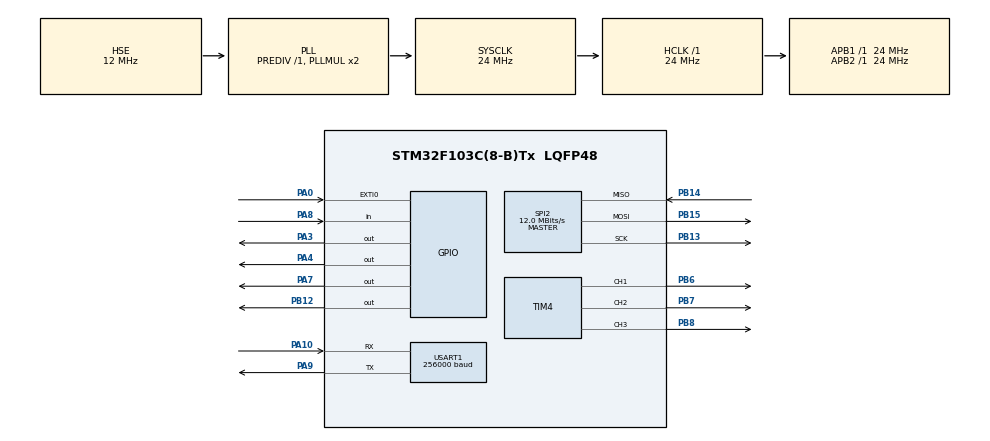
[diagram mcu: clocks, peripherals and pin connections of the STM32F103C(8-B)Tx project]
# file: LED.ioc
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Mcu.Family=STM32F1
Mcu.Name=STM32F103C(8-B)Tx
Mcu.Package=LQFP48
NVIC.EXTI0_IRQn=true\:1\:0\:true\:false\:true\:true\:true
NVIC.PriorityGroup=NVIC_PRIORITYGROUP_4
NVIC.SPI2_IRQn=true\:3\:0\:true\:false\:true\:true\:true
NVIC.USART1_IRQn=true\:3\:0\:true\:false\:true\:true\:true
PA0-WKUP.Signal=GPXTI0
PA10.Mode=Asynchronous
PA10.Signal=USART1_RX
PA13.Mode=Serial_Wire
PA13.Signal=SYS_JTMS-SWDIO
PA14.Mode=Serial_Wire
PA14.Signal=SYS_JTCK-SWCLK
PA3.Signal=GPIO_Output
PA4.Signal=GPIO_Output
PA7.Signal=GPIO_Output
PA8.Signal=GPIO_Input
PA9.Mode=Asynchronous
PA9.Signal=USART1_TX
PB12.Signal=GPIO_Output
PB13.Mode=Full_Duplex_Master
PB13.Signal=SPI2_SCK
PB14.Mode=Full_Duplex_Master
PB14.Signal=SPI2_MISO
PB15.Mode=Full_Duplex_Master
PB15.Signal=SPI2_MOSI
PB6.Signal=S_TIM4_CH1
PB7.Signal=S_TIM4_CH2
PB8.Signal=S_TIM4_CH3
PD0-OSC_IN.Mode=HSE-External-Oscillator
PD0-OSC_IN.Signal=RCC_OSC_IN
PD1-OSC_OUT.Mode=HSE-External-Oscillator
PD1-OSC_OUT.Signal=RCC_OSC_OUT
ProjectManager.HeapSize=0x200
ProjectManager.StackSize=0x400
ProjectManager.TargetToolchain=MDK-ARM V5
RCC.AHBFreq_Value=24000000
RCC.APB1Freq_Value=24000000
RCC.APB1TimFreq_Value=24000000
RCC.APB2Freq_Value=24000000
RCC.APB2TimFreq_Value=24000000
RCC.HCLKFreq_Value=24000000
RCC.HSE_VALUE=12000000
RCC.PLLSourceVirtual=RCC_PLLSOURCE_HSE
RCC.SYSCLKFreq_VALUE=24000000
RCC.SYSCLKSource=RCC_SYSCLKSOURCE_PLLCLK
RCC.USBFreq_Value=24000000
SH.S_TIM4_CH1.0=TIM4_CH1,PWM Generation1 CH1
SH.S_TIM4_CH2.0=TIM4_CH2,PWM Generation2 CH2
SH.S_TIM4_CH3.0=TIM4_CH3,PWM Generation3 CH3
SPI2.BaudRatePrescaler=SPI_BAUDRATEPRESCALER_2
SPI2.CalculateBaudRate=12.0 MBits/s
SPI2.Direction=SPI_DIRECTION_2LINES
SPI2.Mode=SPI_MODE_MASTER
SPI2.VirtualType=VM_MASTER
TIM4.Channel-PWM\ Generation1\ CH1=TIM_CHANNEL_1
TIM4.Channel-PWM\ Generation2\ CH2=TIM_CHANNEL_2
TIM4.Channel-PWM\ Generation3\ CH3=TIM_CHANNEL_3
USART1.BaudRate=256000
USART1.VirtualMode=VM_ASYNC
board=custom

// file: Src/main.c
/* USER CODE BEGIN Header */
/**
  ******************************************************************************
  * @file           : main.c
  * @brief          : Main program body
  ******************************************************************************
  * @attention
  *
  * <h2><center>&copy; Copyright (c) 2019 STMicroelectronics.
  * All rights reserved.</center></h2>
  *
  * This software component is licensed by ST under BSD 3-Clause license,
  * the "License"; You may not use this file except in compliance with the
  * License. You may obtain a copy of the License at:
  *                        opensource.org/licenses/BSD-3-Clause
  *
  ******************************************************************************
  */
/* USER CODE END Header */

#include "main.h"

/* USER CODE BEGIN Includes */
#include "nrf24.h"
#include "nrf24_hal.h"

/* USER CODE END Includes */

/* USER CODE BEGIN PTD */
uint8_t offFlag=0;
 uint8_t offFlag_2=0;
uint32_t curTime=0;
/* USER CODE END PTD */

/* USER CODE BEGIN PD */
uint8_t nRF24_payload[32]={0};
uint8_t payload_length=10;
nRF24_RXResult pipe;
uint8_t monitoreFlag=0;
		uint8_t SerialModule[4];

bool signalValid[126]={0};

/* USER CODE END PD */

SPI_HandleTypeDef hspi2;

TIM_HandleTypeDef htim4;

UART_HandleTypeDef huart1;

/* USER CODE BEGIN PV */
#ifdef __GNUC__
/* With GCC/RAISONANCE, small printf (option LD Linker->Libraries->Small printf
   set to 'Yes') calls __io_putchar() */
#define PUTCHAR_PROTOTYPE int __io_putchar(int ch)
#else
#define PUTCHAR_PROTOTYPE int fputc(int ch, FILE *f)
#endif /* __GNUC__ */
#include <stdbool.h>
/* USER CODE END PV */

void SystemClock_Config(void);
static void MX_GPIO_Init(void);
static void MX_USART1_UART_Init(void);
static void MX_SPI2_Init(void);
static void MX_TIM4_Init(void);
/* USER CODE BEGIN PFP */
    static const uint8_t nRF24_ADDR0[] = { 0x01,0x01,0xE7, 0x1F, 0xE1};
		static const uint8_t nRF24_ADDR1[] = {  0x01,0x01,0xE7, 0x1F, 0xE2 };
		static const uint8_t nRF24_ADDR2[] = {  0x01,0x01,0xE7, 0x1F, 0xE3 };
		static const uint8_t nRF24_ADDR3[] = {  0x01,0x01,0xE7, 0x1F, 0xE4 };
		static const uint8_t nRF24_ADDR4[] = {  0x01,0x01,0xE7, 0x1F, 0xE5 };
		static const uint8_t nRF24_ADDR5[] = {  0x01,0x01,0xE7, 0x1F, 0xE6 };

#define nRF24_WAIT_TIMEOUT         (uint32_t)0x000FFFFF

// Result of packet transmission
typedef enum {
	nRF24_TX_ERROR  = (uint8_t)0x00, // Unknown error
	nRF24_TX_SUCCESS,                // Packet has been transmitted successfully
	nRF24_TX_TIMEOUT,                // It was timeout during packet transmit
	nRF24_TX_MAXRT                   // Transmit failed with maximum auto retransmit count
} nRF24_TXResult;

nRF24_TXResult tx_res;

/* USER CODE END PFP */

/* USER CODE BEGIN 0 */
PUTCHAR_PROTOTYPE
{
  /* Place your implementation of fputc here */
  /* e.g. write a character to the USART1 and Loop until the end of transmission */
  HAL_UART_Transmit(&huart1, (uint8_t *)&ch, 1, 0xFFFF);

  return ch;
}

nRF24_TXResult nRF24_TransmitPacket(uint8_t *pBuf, uint8_t length) {
	volatile uint32_t wait = nRF24_WAIT_TIMEOUT;
	uint8_t status;

	// Deassert the CE pin (in case if it still high)
	nRF24_CE_L();

	// Transfer a data from the specified buffer to the TX FIFO
	nRF24_WritePayload(pBuf, length);

	// Start a transmission by asserting CE pin (must be held at least 10us)
	nRF24_CE_H();

	// Poll the transceiver status register until one of the following flags will be set:
	//   TX_DS  - means the packet has been transmitted
	//   MAX_RT - means the maximum number of TX retransmits happened
	// note: this solution is far from perfect, better to use IRQ instead of polling the status
	do {
		status = nRF24_GetStatus();
		if (status & (nRF24_FLAG_TX_DS | nRF24_FLAG_MAX_RT)) {
			break;
		}
	} while (wait--);

	// Deassert the CE pin (Standby-II --> Standby-I)
	nRF24_CE_L();

	if (!wait) {
		// Timeout
		return nRF24_TX_TIMEOUT;
	}

	// Check the flags in STATUS register
//	printf("[");
//	printf("%d",status);
//	printf("] ");

	// Clear pending IRQ flags
    nRF24_ClearIRQFlags();

	if (status & nRF24_FLAG_MAX_RT) {
		// Auto retransmit counter exceeds the programmed maximum limit (FIFO is not removed)
		return nRF24_TX_MAXRT;
	}

	if (status & nRF24_FLAG_TX_DS) {
		// Successful transmission
		return nRF24_TX_SUCCESS;
	}

	// Some banana happens, a payload remains in the TX FIFO, flush it
	nRF24_FlushTX();

	return nRF24_TX_ERROR;
}

//1- iamhere 2- return data valid
void TransmitComand (uint8_t comandIdent,uint8_t tempArr[payload_length]){

	uint8_t Ident[]={3,100,100,100,100,100,100,100,100,100};

	Ident[1]=SerialModule[0];
	Ident[2]=SerialModule[1];
	Ident[3]=comandIdent;

	switch(comandIdent){
		case 1:
		//nop

		break;

		case 2:
		Ident[4]=tempArr[4];
		Ident[5]=tempArr[5];
		Ident[6]=tempArr[6];

		break;

			case 3:
		Ident[4]=tempArr[4];
		Ident[5]=tempArr[5];
		Ident[6]=tempArr[6];

		break;

	}
			nRF24_SetPowerMode(nRF24_PWR_DOWN);
    nRF24_SetTXPower(nRF24_TXPWR_0dBm);
    nRF24_SetOperationalMode(nRF24_MODE_TX);
    nRF24_ClearIRQFlags();
	  nRF24_SetAddr(nRF24_PIPETX, nRF24_ADDR2);
    nRF24_SetPowerMode(nRF24_PWR_UP);

	    tx_res = nRF24_TransmitPacket(Ident, payload_length);// data load

//	switch (tx_res) {
//			case nRF24_TX_SUCCESS:
//				printf("OK");
//				break;
//			case nRF24_TX_TIMEOUT:
//				printf("TIMEOUT");
//				break;
//			case nRF24_TX_MAXRT:
//				printf("MAX RETRANSMIT");
//				break;
//			default:
//				printf("ERROR");
//				break;
//		}
//    	printf("\r\n");

			nRF24_SetPowerMode(nRF24_PWR_DOWN);
    nRF24_SetOperationalMode(nRF24_MODE_RX);
    nRF24_SetPowerMode(nRF24_PWR_UP);
    nRF24_CE_H();
}

void TransmitIdentification (){
uint8_t Ident[]={3,100,100,100,100,100,100,100,100,100};

	Ident[1]=SerialModule[0];
	Ident[2]=SerialModule[1];
	Ident[3]=1;

  	nRF24_SetPowerMode(nRF24_PWR_DOWN);
    // Set TX power (maximum)
    nRF24_SetTXPower(nRF24_TXPWR_0dBm);
    // Set operational mode (PTX == transmitter)
    nRF24_SetOperationalMode(nRF24_MODE_TX);
    // Clear any pending IRQ flags
    nRF24_ClearIRQFlags();
	nRF24_SetAddr(nRF24_PIPETX, nRF24_ADDR2);
    // Wake the transceiver
    nRF24_SetPowerMode(nRF24_PWR_UP);

	    	tx_res = nRF24_TransmitPacket(Ident, payload_length);
    	switch (tx_res) {
			case nRF24_TX_SUCCESS:
				printf("OK");
				break;
			case nRF24_TX_TIMEOUT:
				printf("TIMEOUT");
				break;
			case nRF24_TX_MAXRT:
				printf("MAX RETRANSMIT");
				break;
			default:
				printf("ERROR");
				break;
		}
    	printf("\r\n");

			nRF24_SetPowerMode(nRF24_PWR_DOWN);

		 // Set operational mode (PRX == receiver)
    nRF24_SetOperationalMode(nRF24_MODE_RX);

    // Wake the transceiver
    nRF24_SetPowerMode(nRF24_PWR_UP);

    // Put the transceiver to the RX mode
    nRF24_CE_H();

}

/* USER CODE END 0 */

int main(void)
{
  /* USER CODE BEGIN 1 */
		volatile uint32_t *UniqueID = (uint32_t *)0x1FFFF7E8;
	volatile uint32_t __UniqueID[3];
	__UniqueID[0] = UniqueID[0];
	__UniqueID[1] = UniqueID[1];
	__UniqueID[2] = UniqueID[2];

	SerialModule[0]=__UniqueID[2];
	SerialModule[1]=__UniqueID[2]>>8;
	SerialModule[2]=__UniqueID[2]>>16;
	SerialModule[3]=__UniqueID[2]>>24;
  /* USER CODE END 1 */

  /* MCU Configuration--------------------------------------------------------*/

  /* Reset of all peripherals, Initializes the Flash interface and the Systick. */
  HAL_Init();

  /* Configure the system clock */
  SystemClock_Config();

  /* Initialize all configured peripherals */
  MX_GPIO_Init();
  MX_USART1_UART_Init();
  MX_SPI2_Init();
  MX_TIM4_Init();
  /* USER CODE BEGIN 2 */

		 HAL_NVIC_DisableIRQ(EXTI0_IRQn);
			offFlag=1;
	curTime=HAL_GetTick();
			if (__HAL_PWR_GET_FLAG(PWR_FLAG_SB) == SET)
{

	//HAL_PWR_EnableBkUpAccess();
__HAL_PWR_CLEAR_FLAG(PWR_FLAG_SB);
	offFlag=1;
	curTime=HAL_GetTick();

}

        HAL_TIM_PWM_Start(&htim4, TIM_CHANNEL_1);
        HAL_TIM_PWM_Start(&htim4, TIM_CHANNEL_2);
        HAL_TIM_PWM_Start(&htim4, TIM_CHANNEL_3);

printf("Hello");

		 HAL_NVIC_DisableIRQ(EXTI0_IRQn);
			offFlag=1;
	curTime=HAL_GetTick();
			if (__HAL_PWR_GET_FLAG(PWR_FLAG_SB) == SET)
{
printf("Wakeup");
	//HAL_PWR_EnableBkUpAccess();
__HAL_PWR_CLEAR_FLAG(PWR_FLAG_SB);
	offFlag=1;
	curTime=HAL_GetTick();

}

 printf("\r\nSTM32F103RET6 is online.\r\n");

     // RX/TX disabled
    nRF24_CE_L();

		 	 HAL_GPIO_WritePin(GPIOA, GPIO_PIN_3, GPIO_PIN_SET);
			 HAL_Delay(2000);
		 	 HAL_GPIO_WritePin(GPIOA, GPIO_PIN_3, GPIO_PIN_RESET);

							  HAL_Delay(3000);
		    // Configure the nRF24L01+
    printf("nRF24L01+ check: ");

    while (!nRF24_Check()) {
    	printf("FAIL\r\n");
			HAL_Delay(1000);
    }

	printf("OK\r\n");
		 HAL_GPIO_WritePin(GPIOA, GPIO_PIN_3,GPIO_PIN_SET);
		  // Initialize the nRF24L01 to its default state
    nRF24_Init();

    // Disable ShockBurst for all RX pipes
    nRF24_DisableAA(0xFF);

    // Set RF channel
    nRF24_SetRFChannel(95);

    // Set data rate
    nRF24_SetDataRate(nRF24_DR_1Mbps);

    // Set CRC scheme
    nRF24_SetCRCScheme(nRF24_CRC_2byte);

    // Set address width, its common for all pipes (RX and TX)
    nRF24_SetAddrWidth(5);

    // Configure RX PIPE#0

    nRF24_SetAddr(nRF24_PIPE0, nRF24_ADDR0); // program address for RX pipe #0
		nRF24_SetAddr(nRF24_PIPE1, nRF24_ADDR1); // program address for RX pipe #1
		nRF24_SetAddr(nRF24_PIPE2, nRF24_ADDR2); // program address for RX pipe #2
		nRF24_SetAddr(nRF24_PIPE3, nRF24_ADDR3); // program address for RX pipe #3
		nRF24_SetAddr(nRF24_PIPE4, nRF24_ADDR4); // program address for RX pipe #4
		nRF24_SetAddr(nRF24_PIPE5, nRF24_ADDR5); // program address for RX pipe #5
    //nRF24_SetRXPipe(nRF24_PIPE0, nRF24_AA_OFF, 6);
		nRF24_SetRXPipe(nRF24_PIPE1, nRF24_AA_OFF, 10);
		//nRF24_SetRXPipe(nRF24_PIPE2, nRF24_AA_OFF, 6);
		//nRF24_SetRXPipe(nRF24_PIPE3, nRF24_AA_OFF, 6);
		//nRF24_SetRXPipe(nRF24_PIPE4, nRF24_AA_OFF, 6);
		//nRF24_SetRXPipe(nRF24_PIPE5, nRF24_AA_OFF, 6);

// nRF24_SetRXPipe(nRF24_PIPE1, nRF24_AA_ON, 10); // Auto-ACK: enabled, payload length: 10 bytes

    // Set operational mode (PRX == receiver)
    nRF24_SetOperationalMode(nRF24_MODE_RX);

  nRF24_ClearIRQFlags();

    // Wake the transceiver
    nRF24_SetPowerMode(nRF24_PWR_UP);

    // Put the transceiver to the RX mode
    nRF24_CE_H();

//				HAL_GPIO_WritePin(GPIOA,GPIO_PIN_3,GPIO_PIN_SET);
//		HAL_Delay(1000);
//		HAL_GPIO_WritePin(GPIOA,GPIO_PIN_4,GPIO_PIN_SET);
//		HAL_Delay(1000);
//		HAL_GPIO_WritePin(GPIOA,GPIO_PIN_3,GPIO_PIN_RESET);
//		HAL_Delay(1000);
//		HAL_GPIO_WritePin(GPIOA,GPIO_PIN_4,GPIO_PIN_RESET);
//		HAL_Delay(1000);

  /* USER CODE END 2 */

  /* Infinite loop */
  /* USER CODE BEGIN WHILE */
  while (1)
  {

//				for(uint16_t l=0;l<=255;l++){ TIM4->CCR1=255; TIM4->CCR2= 0; TIM4->CCR3=l;	HAL_Delay(50);}//255 0 .255
//		for(uint16_t l=255;l!=0;l--){ TIM4->CCR1=l; TIM4->CCR2= 0; TIM4->CCR3=255;	HAL_Delay(5);}// .0 0 255
//		for(uint16_t l=0;l<=255;l++){ TIM4->CCR1=0; TIM4->CCR2= l; TIM4->CCR3=255;	HAL_Delay(5);}// 0 .255 255
//		for(uint16_t l=255;l!=0;l--){ TIM4->CCR1=0; TIM4->CCR2= 255; TIM4->CCR3=l;	HAL_Delay(5);}// 0 255 .0
//		for(uint16_t l=0;l<=255;l++){ TIM4->CCR1=l; TIM4->CCR2= 255; TIM4->CCR3=0;	HAL_Delay(5);}// .255 255 0
//		for(uint16_t l=255;l!=0;l--){ TIM4->CCR1=255; TIM4->CCR2= l; TIM4->CCR3=0;	HAL_Delay(5);}//255 .0 0

			//	for(uint16_t l=0;l<=255;l++){ TIM4->CCR1=0; TIM4->CCR2= 0; TIM4->CCR3=l;	HAL_Delay(50);}//255 0 .255

//
//    /* USER CODE END WHILE */
//		HAL_GPIO_WritePin(GPIOA,GPIO_PIN_3,GPIO_PIN_SET);
//		HAL_Delay(1000);
//		HAL_GPIO_WritePin(GPIOA,GPIO_PIN_4,GPIO_PIN_SET);
//		HAL_Delay(1000);
//		HAL_GPIO_WritePin(GPIOA,GPIO_PIN_3,GPIO_PIN_RESET);
//		HAL_Delay(1000);
//		HAL_GPIO_WritePin(GPIOA,GPIO_PIN_4,GPIO_PIN_RESET);
//		HAL_Delay(1000);

//for(uint8_t i=0;i<124;i++){
//nRF24_SetRFChannel(i);

// nRF24_SetOperationalMode(nRF24_MODE_RX);
//
//  nRF24_ClearIRQFlags();
//
//    // Wake the transceiver
//    nRF24_SetPowerMode(nRF24_PWR_UP);

//    // Put the transceiver to the RX mode
//   // nRF24_CE_H();
//		HAL_Delay(50);

//signalValid[i]=testRPD();

//}

		    	if (nRF24_GetStatus_RXFIFO() != nRF24_STATUS_RXFIFO_EMPTY) {
    		pipe = nRF24_ReadPayload(nRF24_payload, &payload_length);

			nRF24_ClearIRQFlags();

	if(nRF24_payload[0]==3 &&nRF24_payload[1]==SerialModule[0]  && nRF24_payload[2]==SerialModule[1] ){
						TIM4->CCR1= nRF24_payload[4];
						TIM4->CCR2= nRF24_payload[5];
						TIM4->CCR3=nRF24_payload[6];

	}
    	}

			else{
	if(monitoreFlag==1){

				TransmitIdentification();
		monitoreFlag=0;
	}
}

    /* USER CODE END WHILE */

  }
}

void SystemClock_Config(void)
{
  RCC_OscInitTypeDef RCC_OscInitStruct = {0};
  RCC_ClkInitTypeDef RCC_ClkInitStruct = {0};

  /** Initializes the CPU, AHB and APB busses clocks
  */
  RCC_OscInitStruct.OscillatorType = RCC_OSCILLATORTYPE_HSE;
  RCC_OscInitStruct.HSEState = RCC_HSE_ON;
  RCC_OscInitStruct.HSEPredivValue = RCC_HSE_PREDIV_DIV1;
  RCC_OscInitStruct.HSIState = RCC_HSI_ON;
  RCC_OscInitStruct.PLL.PLLState = RCC_PLL_ON;
  RCC_OscInitStruct.PLL.PLLSource = RCC_PLLSOURCE_HSE;
  RCC_OscInitStruct.PLL.PLLMUL = RCC_PLL_MUL2;
  if (HAL_RCC_OscConfig(&RCC_OscInitStruct) != HAL_OK)
  {
    Error_Handler();
  }
  /** Initializes the CPU, AHB and APB busses clocks
  */
  RCC_ClkInitStruct.ClockType = RCC_CLOCKTYPE_HCLK|RCC_CLOCKTYPE_SYSCLK
                              |RCC_CLOCKTYPE_PCLK1|RCC_CLOCKTYPE_PCLK2;
  RCC_ClkInitStruct.SYSCLKSource = RCC_SYSCLKSOURCE_PLLCLK;
  RCC_ClkInitStruct.AHBCLKDivider = RCC_SYSCLK_DIV1;
  RCC_ClkInitStruct.APB1CLKDivider = RCC_HCLK_DIV1;
  RCC_ClkInitStruct.APB2CLKDivider = RCC_HCLK_DIV1;

  if (HAL_RCC_ClockConfig(&RCC_ClkInitStruct, FLASH_LATENCY_0) != HAL_OK)
  {
    Error_Handler();
  }
}

static void MX_SPI2_Init(void)
{

  /* SPI2 parameter configuration*/
  hspi2.Instance = SPI2;
  hspi2.Init.Mode = SPI_MODE_MASTER;
  hspi2.Init.Direction = SPI_DIRECTION_2LINES;
  hspi2.Init.DataSize = SPI_DATASIZE_8BIT;
  hspi2.Init.CLKPolarity = SPI_POLARITY_LOW;
  hspi2.Init.CLKPhase = SPI_PHASE_1EDGE;
  hspi2.Init.NSS = SPI_NSS_SOFT;
  hspi2.Init.BaudRatePrescaler = SPI_BAUDRATEPRESCALER_2;
  hspi2.Init.FirstBit = SPI_FIRSTBIT_MSB;
  hspi2.Init.TIMode = SPI_TIMODE_DISABLE;
  hspi2.Init.CRCCalculation = SPI_CRCCALCULATION_DISABLE;
  hspi2.Init.CRCPolynomial = 10;
  if (HAL_SPI_Init(&hspi2) != HAL_OK)
  {
    Error_Handler();
  }

}

static void MX_TIM4_Init(void)
{

  TIM_MasterConfigTypeDef sMasterConfig = {0};
  TIM_OC_InitTypeDef sConfigOC = {0};

  htim4.Instance = TIM4;
  htim4.Init.Prescaler = 0;
  htim4.Init.CounterMode = TIM_COUNTERMODE_UP;
  htim4.Init.Period = 255;
  htim4.Init.ClockDivision = TIM_CLOCKDIVISION_DIV1;
  htim4.Init.AutoReloadPreload = TIM_AUTORELOAD_PRELOAD_DISABLE;
  if (HAL_TIM_PWM_Init(&htim4) != HAL_OK)
  {
    Error_Handler();
  }
  sMasterConfig.MasterOutputTrigger = TIM_TRGO_RESET;
  sMasterConfig.MasterSlaveMode = TIM_MASTERSLAVEMODE_DISABLE;
  if (HAL_TIMEx_MasterConfigSynchronization(&htim4, &sMasterConfig) != HAL_OK)
  {
    Error_Handler();
  }
  sConfigOC.OCMode = TIM_OCMODE_PWM1;
  sConfigOC.Pulse = 0;
  sConfigOC.OCPolarity = TIM_OCPOLARITY_HIGH;
  sConfigOC.OCFastMode = TIM_OCFAST_DISABLE;
  if (HAL_TIM_PWM_ConfigChannel(&htim4, &sConfigOC, TIM_CHANNEL_1) != HAL_OK)
  {
    Error_Handler();
  }
  if (HAL_TIM_PWM_ConfigChannel(&htim4, &sConfigOC, TIM_CHANNEL_2) != HAL_OK)
  {
    Error_Handler();
  }
  if (HAL_TIM_PWM_ConfigChannel(&htim4, &sConfigOC, TIM_CHANNEL_3) != HAL_OK)
  {
    Error_Handler();
  }
  HAL_TIM_MspPostInit(&htim4);

}

static void MX_USART1_UART_Init(void)
{

  huart1.Instance = USART1;
  huart1.Init.BaudRate = 256000;
  huart1.Init.WordLength = UART_WORDLENGTH_8B;
  huart1.Init.StopBits = UART_STOPBITS_1;
  huart1.Init.Parity = UART_PARITY_NONE;
  huart1.Init.Mode = UART_MODE_TX_RX;
  huart1.Init.HwFlowCtl = UART_HWCONTROL_NONE;
  huart1.Init.OverSampling = UART_OVERSAMPLING_16;
  if (HAL_UART_Init(&huart1) != HAL_OK)
  {
    Error_Handler();
  }

}

static void MX_GPIO_Init(void)
{
  GPIO_InitTypeDef GPIO_InitStruct = {0};

  /* GPIO Ports Clock Enable */
  __HAL_RCC_GPIOD_CLK_ENABLE();
  __HAL_RCC_GPIOA_CLK_ENABLE();
  __HAL_RCC_GPIOB_CLK_ENABLE();

  /*Configure GPIO pin Output Level */
  HAL_GPIO_WritePin(GPIOA, GPIO_PIN_3|GPIO_PIN_4|GPIO_PIN_7, GPIO_PIN_RESET);

  /*Configure GPIO pin Output Level */
  HAL_GPIO_WritePin(GPIOB, GPIO_PIN_12, GPIO_PIN_RESET);

  /*Configure GPIO pin : PA0 */
  GPIO_InitStruct.Pin = GPIO_PIN_0;
  GPIO_InitStruct.Mode = GPIO_MODE_IT_RISING;
  GPIO_InitStruct.Pull = GPIO_NOPULL;
  HAL_GPIO_Init(GPIOA, &GPIO_InitStruct);

  /*Configure GPIO pins : PA3 PA4 PA7 */
  GPIO_InitStruct.Pin = GPIO_PIN_3|GPIO_PIN_4|GPIO_PIN_7;
  GPIO_InitStruct.Mode = GPIO_MODE_OUTPUT_PP;
  GPIO_InitStruct.Pull = GPIO_NOPULL;
  GPIO_InitStruct.Speed = GPIO_SPEED_FREQ_LOW;
  HAL_GPIO_Init(GPIOA, &GPIO_InitStruct);

  /*Configure GPIO pin : PB12 */
  GPIO_InitStruct.Pin = GPIO_PIN_12;
  GPIO_InitStruct.Mode = GPIO_MODE_OUTPUT_PP;
  GPIO_InitStruct.Pull = GPIO_NOPULL;
  GPIO_InitStruct.Speed = GPIO_SPEED_FREQ_LOW;
  HAL_GPIO_Init(GPIOB, &GPIO_InitStruct);

  /*Configure GPIO pin : PA8 */
  GPIO_InitStruct.Pin = GPIO_PIN_8;
  GPIO_InitStruct.Mode = GPIO_MODE_INPUT;
  GPIO_InitStruct.Pull = GPIO_NOPULL;
  HAL_GPIO_Init(GPIOA, &GPIO_InitStruct);

  /* EXTI interrupt init*/
  HAL_NVIC_SetPriority(EXTI0_IRQn, 1, 0);
  HAL_NVIC_EnableIRQ(EXTI0_IRQn);

}

void Error_Handler(void)
{
}

/************************ (C) COPYRIGHT STMicroelectronics *****END OF FILE****/
